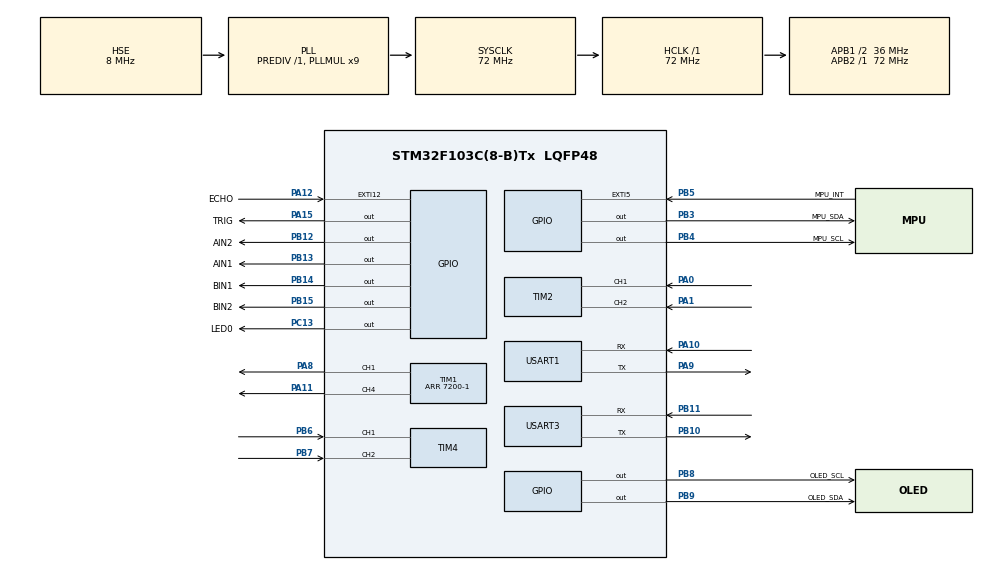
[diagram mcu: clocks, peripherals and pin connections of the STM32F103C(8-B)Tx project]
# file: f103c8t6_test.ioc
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FREERTOS.Tasks01=start_task,24,128,StartDefaultTask,Default,NULL,Dynamic,NULL,NULL
FREERTOS.configGENERATE_RUN_TIME_STATS=1
FREERTOS.configTOTAL_HEAP_SIZE=10240
FREERTOS.configUSE_IDLE_HOOK=1
FREERTOS.configUSE_STATS_FORMATTING_FUNCTIONS=1
Mcu.Family=STM32F1
Mcu.Name=STM32F103C(8-B)Tx
Mcu.Package=LQFP48
NVIC.EXTI9_5_IRQn=true\:5\:0\:true\:false\:true\:true\:true\:true\:true
NVIC.PriorityGroup=NVIC_PRIORITYGROUP_4
NVIC.TIM3_IRQn=true\:1\:0\:true\:false\:true\:false\:false\:true\:true
NVIC.TimeBase=TIM3_IRQn
NVIC.TimeBaseIP=TIM3
NVIC.USART1_IRQn=true\:7\:0\:true\:false\:true\:true\:true\:true\:true
NVIC.USART3_IRQn=true\:6\:0\:true\:false\:true\:true\:true\:true\:true
PA0-WKUP.Signal=S_TIM2_CH1_ETR
PA1.Signal=S_TIM2_CH2
PA10.Mode=Asynchronous
PA10.Signal=USART1_RX
PA11.Signal=S_TIM1_CH4
PA12.GPIO_Label=ECHO
PA12.GPIO_ModeDefaultEXTI=GPIO_MODE_IT_RISING_FALLING
PA12.Signal=GPXTI12
PA13.Mode=Serial_Wire
PA13.Signal=SYS_JTMS-SWDIO
PA14.Mode=Serial_Wire
PA14.Signal=SYS_JTCK-SWCLK
PA15.GPIO_Label=TRIG
PA15.GPIO_Speed=GPIO_SPEED_FREQ_HIGH
PA15.Signal=GPIO_Output
PA8.Signal=S_TIM1_CH1
PA9.Mode=Asynchronous
PA9.Signal=USART1_TX
PB10.Mode=Asynchronous
PB10.Signal=USART3_TX
PB11.Mode=Asynchronous
PB11.Signal=USART3_RX
PB12.GPIO_Label=AIN2
PB12.GPIO_Speed=GPIO_SPEED_FREQ_HIGH
PB12.Signal=GPIO_Output
PB13.GPIO_Label=AIN1
PB13.GPIO_Speed=GPIO_SPEED_FREQ_HIGH
PB13.Signal=GPIO_Output
PB14.GPIO_Label=BIN1
PB14.GPIO_Speed=GPIO_SPEED_FREQ_HIGH
PB14.Signal=GPIO_Output
PB15.GPIO_Label=BIN2
PB15.GPIO_Speed=GPIO_SPEED_FREQ_HIGH
PB15.Signal=GPIO_Output
PB3.GPIO_Label=MPU_SDA
PB3.GPIO_Speed=GPIO_SPEED_FREQ_HIGH
PB3.PinState=GPIO_PIN_SET
PB3.Signal=GPIO_Output
PB4.GPIO_Label=MPU_SCL
PB4.GPIO_Speed=GPIO_SPEED_FREQ_HIGH
PB4.PinState=GPIO_PIN_SET
PB4.Signal=GPIO_Output
PB5.GPIO_Label=MPU_INT
PB5.GPIO_ModeDefaultEXTI=GPIO_MODE_IT_FALLING
PB5.GPIO_PuPd=GPIO_PULLUP
PB5.Signal=GPXTI5
PB6.Signal=S_TIM4_CH1
PB7.Signal=S_TIM4_CH2
PB8.GPIO_Label=OLED_SCL
PB8.GPIO_ModeDefaultOutputPP=GPIO_MODE_OUTPUT_OD
PB8.GPIO_PuPd=GPIO_NOPULL
PB8.GPIO_Speed=GPIO_SPEED_FREQ_HIGH
PB8.PinState=GPIO_PIN_RESET
PB8.Signal=GPIO_Output
PB9.GPIO_Label=OLED_SDA
PB9.GPIO_ModeDefaultOutputPP=GPIO_MODE_OUTPUT_OD
PB9.GPIO_PuPd=GPIO_NOPULL
PB9.GPIO_Speed=GPIO_SPEED_FREQ_HIGH
PB9.Signal=GPIO_Output
PC13-TAMPER-RTC.GPIO_Label=LED0
PC13-TAMPER-RTC.GPIO_Speed=GPIO_SPEED_FREQ_HIGH
PC13-TAMPER-RTC.PinState=GPIO_PIN_RESET
PC13-TAMPER-RTC.Signal=GPIO_Output
PC14-OSC32_IN.Mode=LSE-External-Oscillator
PC14-OSC32_IN.Signal=RCC_OSC32_IN
PC15-OSC32_OUT.Mode=LSE-External-Oscillator
PC15-OSC32_OUT.Signal=RCC_OSC32_OUT
PD0-OSC_IN.Mode=HSE-External-Oscillator
PD0-OSC_IN.Signal=RCC_OSC_IN
PD1-OSC_OUT.Mode=HSE-External-Oscillator
PD1-OSC_OUT.Signal=RCC_OSC_OUT
ProjectManager.HeapSize=0x200
ProjectManager.StackSize=0x400
ProjectManager.TargetToolchain=MDK-ARM V5.32
RCC.AHBFreq_Value=72000000
RCC.APB1CLKDivider=RCC_HCLK_DIV2
RCC.APB1Freq_Value=36000000
RCC.APB1TimFreq_Value=72000000
RCC.APB2Freq_Value=72000000
RCC.APB2TimFreq_Value=72000000
RCC.HCLKFreq_Value=72000000
RCC.PLLMUL=RCC_PLL_MUL9
RCC.PLLSourceVirtual=RCC_PLLSOURCE_HSE
RCC.SYSCLKFreq_VALUE=72000000
RCC.SYSCLKSource=RCC_SYSCLKSOURCE_PLLCLK
RCC.USBFreq_Value=72000000
SH.S_TIM1_CH1.0=TIM1_CH1,PWM Generation1 CH1
SH.S_TIM1_CH4.0=TIM1_CH4,PWM Generation4 CH4
SH.S_TIM2_CH1_ETR.0=TIM2_CH1,Encoder_Interface
SH.S_TIM2_CH2.0=TIM2_CH2,Encoder_Interface
SH.S_TIM4_CH1.0=TIM4_CH1,Encoder_Interface
SH.S_TIM4_CH2.0=TIM4_CH2,Encoder_Interface
TIM1.AutoReloadPreload=TIM_AUTORELOAD_PRELOAD_ENABLE
TIM1.Channel-PWM\ Generation1\ CH1=TIM_CHANNEL_1
TIM1.Channel-PWM\ Generation4\ CH4=TIM_CHANNEL_4
TIM1.Period=7200-1
TIM2.EncoderMode=TIM_ENCODERMODE_TI12
TIM2.IC1Filter=10
TIM4.EncoderMode=TIM_ENCODERMODE_TI12
TIM4.IC1Filter=10
USART1.VirtualMode=VM_ASYNC
USART3.VirtualMode=VM_ASYNC
VP_FREERTOS_VS_CMSIS_V2.Mode=CMSIS_V2
VP_SYS_VS_tim3.Mode=TIM3
board=custom

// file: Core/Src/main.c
/* USER CODE BEGIN Header */
/**
  ******************************************************************************
  * @file           : main.c
  * @brief          : Main program body
  ******************************************************************************
  * @attention
  *
  * Copyright (c) 2024 STMicroelectronics.
  * All rights reserved.
  *
  * This software is licensed under terms that can be found in the LICENSE file
  * in the root directory of this software component.
  * If no LICENSE file comes with this software, it is provided AS-IS.
  *
  ******************************************************************************
  */
/* USER CODE END Header */
#include "main.h"
#include "cmsis_os.h"
#include "tim.h"
#include "usart.h"
#include "gpio.h"

/* USER CODE BEGIN Includes */
#include "oled.h"
//#include "bmp.h"
#include "stdio.h"
#include "delay.h"
#include "mpu6050.h"//MPU6050驱动库
#include "inv_mpu.h"//陀螺仪驱动库
#include "inv_mpu_dmp_motion_driver.h" //DMP姿态解读库
#include "sr04.h"
#include "motor.h"
#include "encoder.h"
#include "uart.h"
#include "control.h"

/* USER CODE END Includes */

/* USER CODE BEGIN PM */
uint8_t g_oledstring[50];   //OLED显示

/* USER CODE END PM */

void SystemClock_Config(void);
void MX_FREERTOS_Init(void);

int main(void)
{

  /* MCU Configuration--------------------------------------------------------*/

  /* Reset of all peripherals, Initializes the Flash interface and the Systick. */
  HAL_Init();

  /* Configure the system clock */
  SystemClock_Config();

  /* Initialize all configured peripherals */
  MX_GPIO_Init();
  MX_USART1_UART_Init();
  MX_TIM1_Init();
  MX_TIM2_Init();
  MX_TIM4_Init();
  MX_USART3_UART_Init();
  /* USER CODE BEGIN 2 */
  OLED_Init();
  OLED_ColorTurn(0);//0正常显示，1 反色显示
  OLED_DisplayTurn(0);//0正常显示 1 屏幕翻转显示

  MPU_Init();                                      //初始化MPU6050
  while(mpu_dmp_init())                            //初始化mpu_dmp库
  {
    OLED_ShowString(0,0,"MPU6050 Failed",8,1);   //显示字符串
    OLED_Refresh();                              //刷新显存
    delay_ms(50);                                //LED闪烁指示
//    printf("Initialization failed！\r\n");       //串口初始化失败上报
    OLED_ShowString(0,0,"              ",8,1);   //显示字符串
    OLED_Refresh();                              //刷新显存
  }
  OLED_Clear();
//  printf("Initialization successed！\r\n");      //串口初始化成功上报
  OLED_ShowString(0,0,"MPU6050 OK!",8,1);        //显示字符串
  OLED_Refresh();                                //刷新显存
//  OLED_Clear();

  set_motor1_enable();
  set_motor2_enable();

  HAL_TIM_Encoder_Start(&htim2,TIM_CHANNEL_ALL);//开启定时器2 编码器模式
  HAL_TIM_Encoder_Start(&htim4,TIM_CHANNEL_ALL);//开启定时器4 编码器模式

//  HAL_NVIC_SetPriority(EXTI9_5_IRQn, 5, 0);     //完成陀螺仪初始化后再开启中断，防止出错
//  HAL_NVIC_EnableIRQ(EXTI9_5_IRQn);

  HAL_UART_Receive_IT(&huart1, (uint8_t *)g_uasrt1_rx, RXBUFFERSIZE);//清除中断标志位,打开串口1中断继续接收
  HAL_UART_Receive_IT(&huart3,g_usart3_rx,1);//清除中断标志位,打开串口3中断继续接收

  /* USER CODE END 2 */

  /* Init scheduler */
  osKernelInitialize();

  /* Call init function for freertos objects (in cmsis_os2.c) */
  MX_FREERTOS_Init();

  /* Start scheduler */
  osKernelStart();

  /* We should never get here as control is now taken by the scheduler */

  /* Infinite loop */
  /* USER CODE BEGIN WHILE */
  while (1)
  {

      /* 蓝牙测试 */
//      OLED_ShowString(80,0,g_usart3_rx,12,1);
      /* 编码器测试 */
//      sprintf((char *)g_oledstring,"encoder2:%5d ",g_encoder_left);
//      OLED_ShowString(0,36,(uint8_t *)g_oledstring,12,1);
//      sprintf((char *)g_oledstring,"encoder4:%5d ",g_encoder_right);
//      OLED_ShowString(0,48,(uint8_t *)g_oledstring,12,1);

      /* 陀螺仪测试 */
//      mpu_dmp_get_data(&g_pitch,&g_roll,&g_yaw);        //得到角度值
//      MPU_Get_Accelerometer(&g_aacx,&g_aacy,&g_aacz);   //得到加速度传感器数据
//      MPU_Get_Gyroscope(&g_gyrox,&g_gyroy,&g_gyroz);    //得到陀螺仪数据
//      g_temp=MPU_Get_Temperature();                     //得到温度值
//      sprintf((char *)g_oledstring,"Pitch:%4.1f ",g_pitch);
//      OLED_ShowString(0,0,(uint8_t *)g_oledstring,12,1);
//      sprintf((char *)g_oledstring,"roll:%4.1f ",g_roll);
//      OLED_ShowString(0,12,(uint8_t *)g_oledstring,12,1);
//      sprintf((char *)g_oledstring,"yaw:%4.1f ",g_yaw);
//      OLED_ShowString(0,24,(uint8_t *)g_oledstring,12,1);
//      printf("\r\ntemp:%.1f\r\n",(float)g_temp/100);//读取温度值扩大了一百倍
//      printf("pitch:%.1f,   roll:%.1f,   yaw:%.1f\r\n",g_pitch,g_roll,g_yaw);//上报角度数据
//      printf("gyrox:%d,gyroy:%d,gyroz:%d,aacx:%d,aacy:%d,aacz:%d\r\n",g_gyrox,g_gyroy,g_gyroz,g_aacx,g_aacy,g_aacz);//上报角速度数据，角加速度数据

      /* 超声波测试 */
//      get_distance();
//      sprintf((char *)g_oledstring,"dis:%4.1f cm",g_distance);
//      OLED_ShowString(0,36,(uint8_t *)g_oledstring,12,1);
//      OLED_Refresh();
//
//      HAL_Delay(10);
//      HAL_GPIO_TogglePin(LED0_GPIO_Port,LED0_Pin);
    /* USER CODE END WHILE */

  }
}

void SystemClock_Config(void)
{
  RCC_OscInitTypeDef RCC_OscInitStruct = {0};
  RCC_ClkInitTypeDef RCC_ClkInitStruct = {0};

  /** Initializes the RCC Oscillators according to the specified parameters
  * in the RCC_OscInitTypeDef structure.
  */
  RCC_OscInitStruct.OscillatorType = RCC_OSCILLATORTYPE_HSE;
  RCC_OscInitStruct.HSEState = RCC_HSE_ON;
  RCC_OscInitStruct.HSEPredivValue = RCC_HSE_PREDIV_DIV1;
  RCC_OscInitStruct.HSIState = RCC_HSI_ON;
  RCC_OscInitStruct.PLL.PLLState = RCC_PLL_ON;
  RCC_OscInitStruct.PLL.PLLSource = RCC_PLLSOURCE_HSE;
  RCC_OscInitStruct.PLL.PLLMUL = RCC_PLL_MUL9;
  if (HAL_RCC_OscConfig(&RCC_OscInitStruct) != HAL_OK)
  {
    Error_Handler();
  }

  /** Initializes the CPU, AHB and APB buses clocks
  */
  RCC_ClkInitStruct.ClockType = RCC_CLOCKTYPE_HCLK|RCC_CLOCKTYPE_SYSCLK
                              |RCC_CLOCKTYPE_PCLK1|RCC_CLOCKTYPE_PCLK2;
  RCC_ClkInitStruct.SYSCLKSource = RCC_SYSCLKSOURCE_PLLCLK;
  RCC_ClkInitStruct.AHBCLKDivider = RCC_SYSCLK_DIV1;
  RCC_ClkInitStruct.APB1CLKDivider = RCC_HCLK_DIV2;
  RCC_ClkInitStruct.APB2CLKDivider = RCC_HCLK_DIV1;

  if (HAL_RCC_ClockConfig(&RCC_ClkInitStruct, FLASH_LATENCY_2) != HAL_OK)
  {
    Error_Handler();
  }
}

void HAL_TIM_PeriodElapsedCallback(TIM_HandleTypeDef *htim)
{
  if (htim->Instance == TIM3) {
    HAL_IncTick();
  }
}

void Error_Handler(void)
{
  __disable_irq();
  while (1)
  {
  }
}

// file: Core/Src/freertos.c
/* USER CODE BEGIN Header */
/**
  ******************************************************************************
  * File Name          : freertos.c
  * Description        : Code for freertos applications
  ******************************************************************************
  * @attention
  *
  * Copyright (c) 2025 STMicroelectronics.
  * All rights reserved.
  *
  * This software is licensed under terms that can be found in the LICENSE file
  * in the root directory of this software component.
  * If no LICENSE file comes with this software, it is provided AS-IS.
  *
  ******************************************************************************
  */
/* USER CODE END Header */

#include "FreeRTOS.h"
#include "task.h"
#include "main.h"
#include "cmsis_os.h"

/* USER CODE BEGIN Includes */
#include "queue.h"
#include "semphr.h"
#include "delay.h"
#include "car_task.h"
#include "oled.h"
#include "stdio.h"
#include "delay.h"

/* USER CODE END Includes */

/* USER CODE BEGIN Variables */
char pcWriteBuffer[300];        //打印信息数组

/* USER CODE END Variables */
/* Definitions for start_task */
osThreadId_t start_taskHandle;
const osThreadAttr_t start_task_attributes = {
  .name = "start_task",
  .stack_size = 128 * 4,
  .priority = (osPriority_t) osPriorityNormal,
};

void StartDefaultTask(void *argument);

void MX_FREERTOS_Init(void); /* (MISRA C 2004 rule 8.1) */

/* Hook prototypes */
void configureTimerForRunTimeStats(void);
unsigned long getRunTimeCounterValue(void);
void vApplicationIdleHook(void);

/* USER CODE BEGIN 1 */
/* Functions needed when configGENERATE_RUN_TIME_STATS is on */
__weak void configureTimerForRunTimeStats(void)
{

}

__weak unsigned long getRunTimeCounterValue(void)
{
return 0;
}
/* USER CODE END 1 */

/* USER CODE BEGIN 2 */
void vApplicationIdleHook( void )
{
    vTaskList(pcWriteBuffer);
    printf("\r\n任务名\t\t 状态\t 优先级\t 剩余栈\t 任务序号\r\n");
    printf("%s\r\n",pcWriteBuffer);

//    vTaskGetRunTimeStats(pcWriteBuffer);
//    printf("任务名\t\t 运行时间\t 运行所占百分比\r\n");
//    printf("%s\r\n", pcWriteBuffer);
   /* vApplicationIdleHook() will only be called if configUSE_IDLE_HOOK is set
   to 1 in FreeRTOSConfig.h. It will be called on each iteration of the idle
   task. It is essential that code added to this hook function never attempts
   to block in any way (for example, call xQueueReceive() with a block time
   specified, or call vTaskDelay()). If the application makes use of the
   vTaskDelete() API function (as this demo application does) then it is also
   important that vApplicationIdleHook() is permitted to return to its calling
   function, because it is the responsibility of the idle task to clean up
   memory allocated by the kernel to any task that has since been deleted. */
}
/* USER CODE END 2 */

void MX_FREERTOS_Init(void) {

  /* Create the thread(s) */
  /* creation of start_task */
  start_taskHandle = osThreadNew(StartDefaultTask, NULL, &start_task_attributes);

}

void StartDefaultTask(void *argument)
{
  /* USER CODE BEGIN StartDefaultTask */
    BaseType_t err;

    /* 创建二值信号量 */
    g_binsemphore_mpu6050 = xSemaphoreCreateBinary();       //创建mpu6050二值信号量

    /* 进入临界区 */
    taskENTER_CRITICAL();    //关闭任务调度中断，等创建完所有任务退出临界区再开始调度任务，否则创建任务后会立即就绪执行，与优先级不符

    /* 创建任务1 */
    err = xTaskCreate((TaskFunction_t         ) control_task,              //任务函数
                     (char *                 ) "control_task",             //任务名称
                     (configSTACK_DEPTH_TYPE ) CONTROL_TASK_STACK_SIZE,    //任务堆栈大小
                     (void *                 ) NULL,                       //传入给任务函数的参数
                     (UBaseType_t            ) CONTROL_TASK_PRIO,          //任务优先级
                     (TaskHandle_t *         ) &g_control_task_handle );   //任务句柄
    if(err == pdPASS)
    {
        OLED_ShowString(0,8,"CONTROL_TASK OK!",8,1);    //显示字符串
        OLED_Refresh();                                 //刷新显存
    }
    else
    {
        OLED_ShowString(0,8,"CONTROL_TASK ERR!",8,1);   //显示字符串
        OLED_Refresh();                                 //刷新显存
    }
    /* 创建任务2 */
    err = xTaskCreate((TaskFunction_t         ) display_task,              //任务函数
                     (char *                 ) "display_task",             //任务名称
                     (configSTACK_DEPTH_TYPE ) DISPLAY_TASK_STACK_SIZE,    //任务堆栈大小
                     (void *                 ) NULL,                       //传入给任务函数的参数
                     (UBaseType_t            ) DISPLAY_TASK_PRIO,          //任务优先级
                     (TaskHandle_t *         ) &g_display_task_handle );   //任务句柄
    if(err == pdPASS)
    {
        OLED_ShowString(0,16,"DISPLAY_TASK OK!",8,1);     //显示字符串
        OLED_Refresh();                                   //刷新显存
    }
    else
    {
        OLED_ShowString(0,16,"DISPLAY_TASK ERR!",8,1);    //显示字符串
        OLED_Refresh();                                   //刷新显存
    }
    /* 创建任务3 */
    err = xTaskCreate((TaskFunction_t         ) led_task,                  //任务函数
                     (char *                 ) "led_task",                 //任务名称
                     (configSTACK_DEPTH_TYPE ) LED_TASK_STACK_SIZE,        //任务堆栈大小
                     (void *                 ) NULL,                       //传入给任务函数的参数
                     (UBaseType_t            ) LED_TASK_PRIO,              //任务优先级
                     (TaskHandle_t *         ) &g_led_task_handle );       //任务句柄
    if(err == pdPASS)
    {
        OLED_ShowString(0,24,"LED_TASK OK!",8,1);       //显示字符串
        OLED_Refresh();                                 //刷新显存
    }
    else
    {
        OLED_ShowString(0,24,"LED_TASK ERR!",8,1);      //显示字符串
        OLED_Refresh();                                 //刷新显存
    }

    delay_ms(1000);
    OLED_Clear();

    /* 删除开始任务 */
    vTaskDelete(NULL);

    /* 退出临界区 */
    taskEXIT_CRITICAL();    //等待start_task执行完再开始任务调度，保证符合优先级

  /* USER CODE END StartDefaultTask */
}
